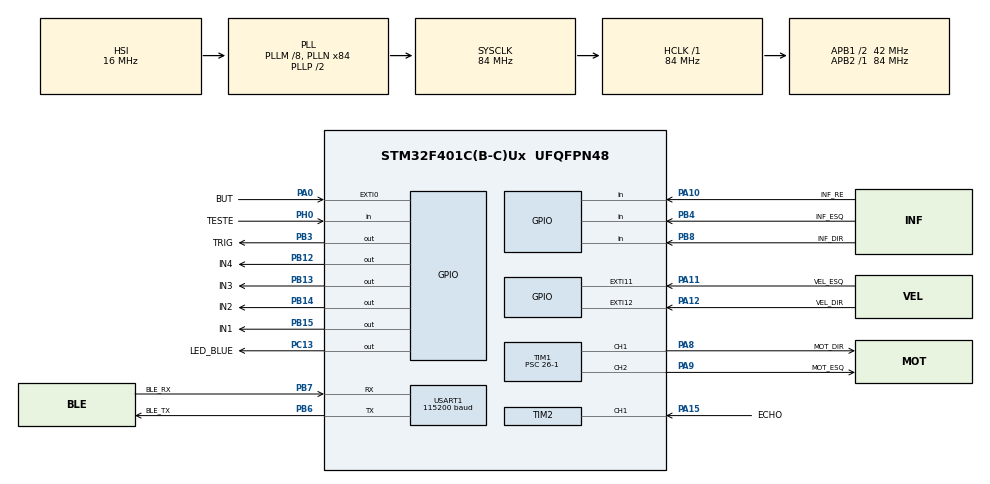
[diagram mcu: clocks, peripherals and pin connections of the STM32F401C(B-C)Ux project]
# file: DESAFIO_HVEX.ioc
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Dma.Request0=USART1_RX
Dma.Request1=USART1_TX
Dma.USART1_RX.0.Direction=DMA_PERIPH_TO_MEMORY
Dma.USART1_RX.0.FIFOMode=DMA_FIFOMODE_DISABLE
Dma.USART1_RX.0.Instance=DMA2_Stream2
Dma.USART1_RX.0.MemDataAlignment=DMA_MDATAALIGN_BYTE
Dma.USART1_RX.0.MemInc=DMA_MINC_ENABLE
Dma.USART1_RX.0.Mode=DMA_NORMAL
Dma.USART1_RX.0.PeriphDataAlignment=DMA_PDATAALIGN_BYTE
Dma.USART1_RX.0.PeriphInc=DMA_PINC_DISABLE
Dma.USART1_RX.0.Priority=DMA_PRIORITY_MEDIUM
Dma.USART1_TX.1.Direction=DMA_MEMORY_TO_PERIPH
Dma.USART1_TX.1.FIFOMode=DMA_FIFOMODE_DISABLE
Dma.USART1_TX.1.Instance=DMA2_Stream7
Dma.USART1_TX.1.MemDataAlignment=DMA_MDATAALIGN_BYTE
Dma.USART1_TX.1.MemInc=DMA_MINC_ENABLE
Dma.USART1_TX.1.Mode=DMA_NORMAL
Dma.USART1_TX.1.PeriphDataAlignment=DMA_PDATAALIGN_BYTE
Dma.USART1_TX.1.PeriphInc=DMA_PINC_DISABLE
Dma.USART1_TX.1.Priority=DMA_PRIORITY_MEDIUM
FREERTOS.Events01=Operation_Modes,Dynamic,NULL
FREERTOS.Queues01=Sensors_State,3,uint8_t,0,Dynamic,NULL,NULL;Bluetooth_comands,8,uint8_t,0,Dynamic,NULL,NULL
FREERTOS.Tasks01=Autonomus_Mode,24,128,Autonomus,Default,NULL,Dynamic,NULL,NULL;Manual_Mode,40,128,Manual,Default,NULL,Dynamic,NULL,NULL;SensorsReading,24,64,Sensors,Default,NULL,Dynamic,NULL,NULL;Ultrasonic_Read,24,64,Ultrasonic,Default,NULL,Dynamic,NULL,NULL;IDLE_Task,32,64,IDLE,Default,NULL,Dynamic,NULL,NULL;PID_DIR_Task,48,128,PID_M_DIR,Default,NULL,Dynamic,NULL,NULL;PID_ESQ_Task,48,128,PID_M_ESQ,Default,NULL,Dynamic,NULL,NULL
FREERTOS.configMINIMAL_STACK_SIZE=64
Mcu.Family=STM32F4
Mcu.Name=STM32F401C(B-C)Ux
Mcu.Package=UFQFPN48
NVIC.DMA2_Stream2_IRQn=true\:5\:0\:false\:false\:true\:true\:false\:true
NVIC.DMA2_Stream7_IRQn=true\:5\:0\:false\:false\:true\:true\:false\:true
NVIC.EXTI0_IRQn=true\:10\:0\:true\:false\:true\:true\:true\:true
NVIC.EXTI15_10_IRQn=true\:5\:0\:false\:false\:true\:true\:true\:true
NVIC.PriorityGroup=NVIC_PRIORITYGROUP_4
NVIC.TIM1_TRG_COM_TIM11_IRQn=true\:15\:0\:false\:false\:true\:false\:false\:true
NVIC.TIM2_IRQn=true\:5\:0\:false\:false\:true\:true\:true\:true
NVIC.TimeBase=TIM1_TRG_COM_TIM11_IRQn
NVIC.TimeBaseIP=TIM11
NVIC.USART1_IRQn=true\:5\:0\:false\:false\:true\:true\:true\:true
PA0-WKUP.GPIO_Label=BUT
PA0-WKUP.GPIO_ModeDefaultEXTI=GPIO_MODE_IT_FALLING
PA0-WKUP.GPIO_PuPd=GPIO_PULLUP
PA0-WKUP.Signal=GPXTI0
PA10.GPIO_Label=INF_RE
PA10.Signal=GPIO_Input
PA11.GPIO_Label=VEL_ESQ
PA11.GPIO_ModeDefaultEXTI=GPIO_MODE_IT_RISING
PA11.Signal=GPXTI11
PA12.GPIO_Label=VEL_DIR
PA12.GPIO_ModeDefaultEXTI=GPIO_MODE_IT_RISING
PA12.Signal=GPXTI12
PA13.Mode=Serial_Wire
PA13.Signal=SYS_JTMS-SWDIO
PA14.Mode=Serial_Wire
PA14.Signal=SYS_JTCK-SWCLK
PA15.GPIO_Label=ECHO
PA15.Signal=S_TIM2_CH1_ETR
PA8.GPIO_Label=MOT_DIR
PA8.Signal=S_TIM1_CH1
PA9.GPIO_Label=MOT_ESQ
PA9.Signal=S_TIM1_CH2
PB12.GPIO_Label=IN4
PB12.Signal=GPIO_Output
PB13.GPIO_Label=IN3
PB13.Signal=GPIO_Output
PB14.GPIO_Label=IN2
PB14.Signal=GPIO_Output
PB15.GPIO_Label=IN1
PB15.Signal=GPIO_Output
PB3.GPIO_Label=TRIG
PB3.Signal=GPIO_Output
PB4.GPIO_Label=INF_ESQ
PB4.GPIO_PuPd=GPIO_PULLUP
PB4.Signal=GPIO_Input
PB6.GPIO_Label=BLE_TX
PB6.Mode=Asynchronous
PB6.Signal=USART1_TX
PB7.GPIO_Label=BLE_RX
PB7.Mode=Asynchronous
PB7.Signal=USART1_RX
PB8.GPIO_Label=INF_DIR
PB8.GPIO_PuPd=GPIO_PULLUP
PB8.Signal=GPIO_Input
PC13-ANTI_TAMP.GPIO_Label=LED_BLUE
PC13-ANTI_TAMP.Signal=GPIO_Output
PH0\ -\ OSC_IN.GPIO_Label=TESTE
PH0\ -\ OSC_IN.Signal=GPIO_Input
ProjectManager.HeapSize=0x200
ProjectManager.StackSize=0x400
ProjectManager.TargetToolchain=STM32CubeIDE
RCC.48MHZClocksFreq_Value=42000000
RCC.AHBFreq_Value=84000000
RCC.APB1CLKDivider=RCC_HCLK_DIV2
RCC.APB1Freq_Value=42000000
RCC.APB1TimFreq_Value=84000000
RCC.APB2Freq_Value=84000000
RCC.APB2TimFreq_Value=84000000
RCC.CortexFreq_Value=84000000
RCC.HCLKFreq_Value=84000000
RCC.HSE_VALUE=25000000
RCC.HSI_VALUE=16000000
RCC.LSE_VALUE=32768
RCC.PLLM=8
RCC.PLLN=84
RCC.SYSCLKFreq_VALUE=84000000
RCC.SYSCLKSource=RCC_SYSCLKSOURCE_PLLCLK
RCC.VCOOutputFreq_Value=168000000
SH.S_TIM1_CH1.0=TIM1_CH1,PWM Generation1 CH1
SH.S_TIM1_CH2.0=TIM1_CH2,PWM Generation2 CH2
SH.S_TIM2_CH1_ETR.0=TIM2_CH1,Input_Capture1_from_TI1
TIM1.AutoReloadPreload=TIM_AUTORELOAD_PRELOAD_ENABLE
TIM1.Channel-PWM\ Generation1\ CH1=TIM_CHANNEL_1
TIM1.Channel-PWM\ Generation2\ CH2=TIM_CHANNEL_2
TIM1.OCFastMode_PWM-PWM\ Generation1\ CH1=TIM_OCFAST_ENABLE
TIM1.OCFastMode_PWM-PWM\ Generation2\ CH2=TIM_OCFAST_ENABLE
TIM1.Period=65536-1
TIM1.Prescaler=26-1
TIM1.Pulse-PWM\ Generation1\ CH1=6554
TIM1.Pulse-PWM\ Generation2\ CH2=6554
TIM2.Channel-Input_Capture1_from_TI1=TIM_CHANNEL_1
TIM2.Period=0xffff-1
TIM2.Prescaler=84-1
USART1.BaudRate=115200
USART1.VirtualMode=VM_ASYNC
VP_FREERTOS_VS_CMSIS_V2.Mode=CMSIS_V2
VP_SYS_VS_tim11.Mode=TIM11
VP_TIM1_VS_ClockSourceINT.Mode=Internal
VP_TIM2_VS_ClockSourceINT.Mode=Internal
board=custom

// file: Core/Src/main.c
/* USER CODE BEGIN Header */
/**
 ******************************************************************************
 * @file           : main.c
 * @brief          : Main program body
 ******************************************************************************
 * @attention
 *
 * <h2><center>&copy; Copyright (c) 2021 STMicroelectronics.
 * All rights reserved.</center></h2>
 *
 * This software component is licensed by ST under BSD 3-Clause license,
 * the "License"; You may not use this file except in compliance with the
 * License. You may obtain a copy of the License at:
 *                        opensource.org/licenses/BSD-3-Clause
 *
 ******************************************************************************
 */
/* USER CODE END Header */
#include "main.h"
#include "cmsis_os.h"
#include "dma.h"
#include "tim.h"
#include "usart.h"
#include "gpio.h"

/* USER CODE BEGIN Includes */
#include "arm_math.h"
#include "dma.h"
#include "tim.h"
#include "usart.h"
#include "gpio.h"
/* USER CODE END Includes */

void SystemClock_Config(void);
void MX_FREERTOS_Init(void);

int main(void)
{

  /* MCU Configuration--------------------------------------------------------*/

  /* Reset of all peripherals, Initializes the Flash interface and the Systick. */
  HAL_Init();

  /* Configure the system clock */
  SystemClock_Config();

  /* Initialize all configured peripherals */
  MX_GPIO_Init();
  MX_TIM1_Init();
  MX_USART1_UART_Init();
  MX_DMA_Init();
  MX_TIM2_Init();

  /* Init scheduler */
  osKernelInitialize();  /* Call init function for freertos objects (in freertos.c) */
  MX_FREERTOS_Init();
  /* Start scheduler */
  osKernelStart();

  /* We should never get here as control is now taken by the scheduler */
  /* Infinite loop */
	while (1) {

	}
}

void SystemClock_Config(void)
{
  RCC_OscInitTypeDef RCC_OscInitStruct = {0};
  RCC_ClkInitTypeDef RCC_ClkInitStruct = {0};

  /** Configure the main internal regulator output voltage
  */
  __HAL_RCC_PWR_CLK_ENABLE();
  __HAL_PWR_VOLTAGESCALING_CONFIG(PWR_REGULATOR_VOLTAGE_SCALE2);
  /** Initializes the RCC Oscillators according to the specified parameters
  * in the RCC_OscInitTypeDef structure.
  */
  RCC_OscInitStruct.OscillatorType = RCC_OSCILLATORTYPE_HSI;
  RCC_OscInitStruct.HSIState = RCC_HSI_ON;
  RCC_OscInitStruct.HSICalibrationValue = RCC_HSICALIBRATION_DEFAULT;
  RCC_OscInitStruct.PLL.PLLState = RCC_PLL_ON;
  RCC_OscInitStruct.PLL.PLLSource = RCC_PLLSOURCE_HSI;
  RCC_OscInitStruct.PLL.PLLM = 8;
  RCC_OscInitStruct.PLL.PLLN = 84;
  RCC_OscInitStruct.PLL.PLLP = RCC_PLLP_DIV2;
  RCC_OscInitStruct.PLL.PLLQ = 4;
  if (HAL_RCC_OscConfig(&RCC_OscInitStruct) != HAL_OK)
  {
    Error_Handler();
  }
  /** Initializes the CPU, AHB and APB buses clocks
  */
  RCC_ClkInitStruct.ClockType = RCC_CLOCKTYPE_HCLK|RCC_CLOCKTYPE_SYSCLK
                              |RCC_CLOCKTYPE_PCLK1|RCC_CLOCKTYPE_PCLK2;
  RCC_ClkInitStruct.SYSCLKSource = RCC_SYSCLKSOURCE_PLLCLK;
  RCC_ClkInitStruct.AHBCLKDivider = RCC_SYSCLK_DIV1;
  RCC_ClkInitStruct.APB1CLKDivider = RCC_HCLK_DIV2;
  RCC_ClkInitStruct.APB2CLKDivider = RCC_HCLK_DIV1;

  if (HAL_RCC_ClockConfig(&RCC_ClkInitStruct, FLASH_LATENCY_2) != HAL_OK)
  {
    Error_Handler();
  }
}

void HAL_TIM_PeriodElapsedCallback(TIM_HandleTypeDef *htim)
{
  if (htim->Instance == TIM11) {
    HAL_IncTick();
  }
}

void Error_Handler(void)
{
	__disable_irq();
	while (1) {
	}
}

/************************ (C) COPYRIGHT STMicroelectronics *****END OF FILE****/

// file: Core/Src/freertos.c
/* USER CODE BEGIN Header */
/**
 ******************************************************************************
 * File Name          : freertos.c
 * Description        : Code for freertos applications
 ******************************************************************************
 * @attention
 *
 * <h2><center>&copy; Copyright (c) 2021 STMicroelectronics.
 * All rights reserved.</center></h2>
 *
 * This software component is licensed by ST under Ultimate Liberty license
 * SLA0044, the "License"; You may not use this file except in compliance with
 * the License. You may obtain a copy of the License at:
 *                             www.st.com/SLA0044
 *
 ******************************************************************************
 */
/* USER CODE END Header */

#include "FreeRTOS.h"
#include "task.h"
#include "main.h"
#include "cmsis_os.h"

/* USER CODE BEGIN Includes */
#include "stm32f4xx_hal.h"
#include "gpio.h"
#include "usart.h"
#include "stm32f401xc.h"
#include "dma.h"
#include "stdio.h"
#include "string.h"
#include "RPM_sensor.h"
#include "arm_math.h"
#include "Control_Motors.h"
/* USER CODE END Includes */

/* USER CODE BEGIN PTD */
typedef struct {
	double dir;
	double esq;
} RPM_mensures_t;

typedef struct{
	double duty;
	double SETPOINT;
	uint32_t old_time;
	double vet_mov_avr[4];
	uint8_t len_mov_avr;
	double pid_error;
	double pid_out;
	uint8_t saturation;
	int8_t sign;
	double RPM;
	uint8_t MOT;
	uint8_t reload;
	arm_pid_instance_f32 PID;
	float32_t Ki_old;
	float32_t Kd_old;
	float32_t Kp_old;
}params_PID;

/* USER CODE END PTD */

/* USER CODE BEGIN PD */
#define TURN_ON_AUTONOMUS 	(1<<0)	// 0b00000000000000000000000000000001	#01
#define TURN_OFF_AUTONOMUS	(1<<1)	// 0b00000000000000000000000000000010	#02
#define TURN_ON_MANUAL 		(1<<2)	// 0b00000000000000000000000000000100	#04
#define TURN_OFF_MANUAL		(1<<3)	// 0b00000000000000000000000000001000	#08

/* Choose of PID parameters for DIR motor */
#define PID_DIR_KP	2.01			/* Proporcional */
#define PID_DIR_KI	0.006			/* Integral */
#define PID_DIR_KD	0.008			/* Derivative */
/* Choose of PID parameters for ESQ motor */
#define PID_ESQ_KP	2.01				/* Proporcional */
#define PID_ESQ_KI	0.005			/* Integral */
#define PID_ESQ_KD	0.008			/* Derivative */
/*#define PID_ESQ_KP	2.1				 Proporcional
#define PID_ESQ_KI	0.004			 Integral
#define PID_ESQ_KD	0.009			 Derivative */
#define FS				2			/*Sampling Frequency*/
#define TIMEHOLD		500		/*Sampling Period in ms*/
#define true			1
#define false			0

/* USER CODE END PD */

/* USER CODE BEGIN PM */
#define LED_ON				HAL_GPIO_WritePin(LED_BLUE_GPIO_Port, LED_BLUE_Pin, GPIO_PIN_RESET);
#define LED_OFF				HAL_GPIO_WritePin(LED_BLUE_GPIO_Port, LED_BLUE_Pin, GPIO_PIN_SET);
#define LED_TOGGLE			HAL_GPIO_TogglePin(LED_BLUE_GPIO_Port, LED_BLUE_Pin);
/* USER CODE END PM */

/* USER CODE BEGIN Variables */
extern TIM_HandleTypeDef htim1;
extern TIM_HandleTypeDef htim2;
extern UART_HandleTypeDef huart1;
extern DMA_HandleTypeDef hdma_usart1_rx;
extern DMA_HandleTypeDef hdma_usart1_tx;

/*Ultrassonic Sensor Variables*/
uint32_t IC_Val1 = 0;
uint32_t IC_Val2 = 0;
uint32_t Difference = 0;
uint8_t Is_First_Captured = 0;  // is the first value captured ?

/*Button Variables*/
uint32_t BUT_COUNT = 0;
uint32_t ERROR_COUNT = 0;

/*Motor Velocity Variables*/
pulsos count_pulsos;
static double veloc = 70; /*[RPM]*/
RPM_mensures_t RPM;

/*Infrared Sensor Variables*/
static uint32_t count_re = 0;
static uint32_t count_dir = 0;
static uint32_t count_esq = 0;
static uint32_t Distancia = 0xff;
static GPIO_PinState pin_dir = GPIO_PIN_SET;
static GPIO_PinState pin_esq = GPIO_PIN_SET;
static GPIO_PinState pin_re = GPIO_PIN_SET;

/*PID instancies*/
params_PID DIR = {
		/*Velocity Setpoint*/
		.SETPOINT = 80,
};

params_PID ESQ = {
		.SETPOINT = 80,
};

uint8_t velocidade=15;
uint8_t comando[5];
uint8_t UART1_rxBuffer[5];
uint8_t to_send[5];

HAL_StatusTypeDef feedback_uart;
uint8_t count_ble=0;

/* USER CODE END Variables */
/* Definitions for Autonomus_Mode */
osThreadId_t Autonomus_ModeHandle;
const osThreadAttr_t Autonomus_Mode_attributes = {
  .name = "Autonomus_Mode",
  .stack_size = 128 * 4,
  .priority = (osPriority_t) osPriorityNormal,
};
/* Definitions for Manual_Mode */
osThreadId_t Manual_ModeHandle;
const osThreadAttr_t Manual_Mode_attributes = {
  .name = "Manual_Mode",
  .stack_size = 128 * 4,
  .priority = (osPriority_t) osPriorityHigh,
};
/* Definitions for SensorsReading */
osThreadId_t SensorsReadingHandle;
const osThreadAttr_t SensorsReading_attributes = {
  .name = "SensorsReading",
  .stack_size = 64 * 4,
  .priority = (osPriority_t) osPriorityNormal,
};
/* Definitions for Ultrasonic_Read */
osThreadId_t Ultrasonic_ReadHandle;
const osThreadAttr_t Ultrasonic_Read_attributes = {
  .name = "Ultrasonic_Read",
  .stack_size = 64 * 4,
  .priority = (osPriority_t) osPriorityNormal,
};
/* Definitions for IDLE_Task */
osThreadId_t IDLE_TaskHandle;
const osThreadAttr_t IDLE_Task_attributes = {
  .name = "IDLE_Task",
  .stack_size = 64 * 4,
  .priority = (osPriority_t) osPriorityAboveNormal,
};
/* Definitions for PID_DIR_Task */
osThreadId_t PID_DIR_TaskHandle;
const osThreadAttr_t PID_DIR_Task_attributes = {
  .name = "PID_DIR_Task",
  .stack_size = 128 * 4,
  .priority = (osPriority_t) osPriorityRealtime,
};
/* Definitions for PID_ESQ_Task */
osThreadId_t PID_ESQ_TaskHandle;
const osThreadAttr_t PID_ESQ_Task_attributes = {
  .name = "PID_ESQ_Task",
  .stack_size = 128 * 4,
  .priority = (osPriority_t) osPriorityRealtime,
};
/* Definitions for Sensors_State */
osMessageQueueId_t Sensors_StateHandle;
const osMessageQueueAttr_t Sensors_State_attributes = {
  .name = "Sensors_State"
};
/* Definitions for Bluetooth_comands */
osMessageQueueId_t Bluetooth_comandsHandle;
const osMessageQueueAttr_t Bluetooth_comands_attributes = {
  .name = "Bluetooth_comands"
};
/* Definitions for Operation_Modes */
osEventFlagsId_t Operation_ModesHandle;
const osEventFlagsAttr_t Operation_Modes_attributes = {
  .name = "Operation_Modes"
};

/* USER CODE BEGIN FunctionPrototypes */
void HCSR04_Read(void);
/* USER CODE END FunctionPrototypes */

void Autonomus(void *argument);
void Manual(void *argument);
void Sensors(void *argument);
void Ultrasonic(void *argument);
void IDLE(void *argument);
void PID_M_DIR(void *argument);
void PID_M_ESQ(void *argument);

void MX_FREERTOS_Init(void); /* (MISRA C 2004 rule 8.1) */

void MX_FREERTOS_Init(void) {

  /* Create the queue(s) */
  /* creation of Sensors_State */
  Sensors_StateHandle = osMessageQueueNew (3, sizeof(uint8_t), &Sensors_State_attributes);

  /* creation of Bluetooth_comands */
  Bluetooth_comandsHandle = osMessageQueueNew (8, sizeof(uint8_t), &Bluetooth_comands_attributes);

  /* USER CODE BEGIN RTOS_QUEUES */
	/* add queues, ... */
	if (Sensors_StateHandle == NULL) {
		Error_Handler();
	}

  /* USER CODE END RTOS_QUEUES */

  /* Create the thread(s) */
  /* creation of Autonomus_Mode */
  Autonomus_ModeHandle = osThreadNew(Autonomus, NULL, &Autonomus_Mode_attributes);

  /* creation of Manual_Mode */
  Manual_ModeHandle = osThreadNew(Manual, NULL, &Manual_Mode_attributes);

  /* creation of SensorsReading */
  SensorsReadingHandle = osThreadNew(Sensors, NULL, &SensorsReading_attributes);

  /* creation of Ultrasonic_Read */
  Ultrasonic_ReadHandle = osThreadNew(Ultrasonic, NULL, &Ultrasonic_Read_attributes);

  /* creation of IDLE_Task */
  IDLE_TaskHandle = osThreadNew(IDLE, NULL, &IDLE_Task_attributes);

  /* creation of PID_DIR_Task */
  PID_DIR_TaskHandle = osThreadNew(PID_M_DIR, NULL, &PID_DIR_Task_attributes);

  /* creation of PID_ESQ_Task */
  PID_ESQ_TaskHandle = osThreadNew(PID_M_ESQ, NULL, &PID_ESQ_Task_attributes);

  /* USER CODE BEGIN RTOS_THREADS */
	/* add threads, ... */

	osThreadSuspend(Autonomus_ModeHandle);
	osThreadSuspend(Manual_ModeHandle);
	osThreadSuspend(SensorsReadingHandle);
	osThreadSuspend(Ultrasonic_ReadHandle);
	osThreadSuspend(PID_DIR_TaskHandle);
	osThreadSuspend(PID_ESQ_TaskHandle);
  /* USER CODE END RTOS_THREADS */

  /* Create the event(s) */
  /* creation of Operation_Modes */
  Operation_ModesHandle = osEventFlagsNew(&Operation_Modes_attributes);

}

void Autonomus(void *argument)
{
  /* USER CODE BEGIN Autonomus */
	static uint32_t decisao;
	const uint8_t REFdebounce = 5;
	static uint8_t in1_0_dir = 0;
	static uint8_t in1_1_dir = 0;
	static uint8_t in1_0_esq = 0;
	static uint8_t in1_1_esq = 0;
	static uint8_t in1_0_re = 0;
	static uint8_t in1_1_re = 0;
	static const uint8_t distancia = 10;
	static const uint8_t angulo_90 = 45;
	static const uint8_t angulo_60 = 30;
	HAL_TIM_PWM_Start(&htim1, MOTOR_ESQ);
	osDelay(10);
	HAL_TIM_PWM_Start(&htim1, MOTOR_DIR);
	osDelay(10);
	init_motors(veloc);
	frente(veloc);

	/* Infinite loop */
	for (;;) {
		osMessageQueueGet(Sensors_StateHandle, &Distancia, osPriorityNormal,
				(uint32_t)0U);
		if (Distancia <= min_dist) {
			stop();
			decisao = HAL_GetTick(); /*Consulta o tick atual: "Olha a hora"*/
			if ((decisao % 2) == 0) {
				re_dist(veloc,distancia);
				rot_esq(veloc,angulo_90);
				frente(veloc);
			} else {
				re_dist(veloc,distancia);
				rot_dir(veloc,angulo_90);
				frente(veloc);
			}
		}
		if (pin_re == GPIO_PIN_RESET) {

			in1_0_re++;
			in1_1_re = 0;
			if (in1_0_re >= REFdebounce) {
				in1_1_re = REFdebounce + 1;
				stop();
				frente(veloc);
				osDelay(time_wait_ms(distancia, veloc));
				count_re++;
			}
		} else {
			in1_0_re = 0;
			in1_1_re++;
			if (in1_1_re >= REFdebounce) {
				in1_1_re = REFdebounce + 1;
				frente(veloc);
			}
		}

		if (pin_dir == GPIO_PIN_RESET) {
			in1_0_dir++;
			in1_1_dir = 0;
			if (in1_0_dir >= REFdebounce) {
				in1_1_dir = REFdebounce + 1;
				/*Confirmado acionamento*/
				stop();
				re_dist(veloc, distancia);
				rot_esq(veloc,angulo_60);
				frente(veloc);
				count_dir++;
			}
		} else {
			in1_0_dir = 0;
			in1_1_dir++;
			if (in1_1_dir >= REFdebounce) {
				in1_1_dir = REFdebounce + 1;
			}
		}

		if (pin_esq == GPIO_PIN_RESET) {
			in1_0_esq++;
			in1_1_esq = 0;
			if (in1_0_esq >= REFdebounce) {
				in1_1_esq = REFdebounce + 1;
				stop();
				re_dist(veloc, distancia);
				rot_dir(veloc,angulo_60);
				frente(veloc);
				count_esq++;
			}
		} else {
			in1_0_esq = 0;
			in1_1_esq++;
			if (in1_1_esq >= REFdebounce) {
				in1_1_esq = REFdebounce + 1;
			}
		}

		if ((pin_dir && pin_esq) == GPIO_PIN_SET) {
			frente(veloc);
		}
		osDelay(10);
	}
  /* USER CODE END Autonomus */
}

void Manual(void *argument)
{
  /* USER CODE BEGIN Manual */
	/* Infinite loop */
	uint8_t i=0;
	uint8_t buff[5];
	HAL_StatusTypeDef feedback;
	/*uint8_t velocidade=15;*/
	for (;;) {
		osMessageQueueGet(Bluetooth_comandsHandle, &buff, osPriorityRealtime,
				10U);
		/*		__disable_irq();
		 memcpy(buff, to_send, sizeof(buff));
		 memset(to_send, 0x0, sizeof(buff));
		 __enable_irq();*/

		i = 0;
		while ((i < 5) && (buff[i] != 0x0)) {
			if (buff[i] != 10) {
				switch (buff[i]) {
				case 'S':
					stop();
					break;
				case 'F':
					frente(veloc);
					break;
				case 'L':
					rotacao_E();
					break;
				case 'R':
					rotacao_D();
					break;
				case 'G':
					re(veloc);
					break;
				case 'E':
					direita(veloc);
					break;
				case 'Q':
					esquerda(veloc);
					break;
				default:
					stop();
					break;
				}
			}
			i++;
			buff[i] = 0x0;
		}
		osMessageQueueReset(Bluetooth_comandsHandle);
		osDelay(1);
	}
  /* USER CODE END Manual */
}

void Sensors(void *argument)
{
  /* USER CODE BEGIN Sensors */
	/* Infinite loop */
	for (;;) {
		/*Lendo o Estado de sensores infravermelho*/
		pin_re = HAL_GPIO_ReadPin(INF_RE_GPIO_Port, INF_RE_Pin);
		pin_esq = HAL_GPIO_ReadPin(INF_ESQ_GPIO_Port, INF_ESQ_Pin);
		pin_dir = HAL_GPIO_ReadPin(INF_DIR_GPIO_Port, INF_DIR_Pin);
		osDelay(2);
	}
  /* USER CODE END Sensors */
}

void Ultrasonic(void *argument)
{
  /* USER CODE BEGIN Ultrasonic */
	/* Infinite loop */
	HAL_TIM_IC_Start_IT(&htim2, TIM_CHANNEL_1);
	for (;;) {
		HCSR04_Read();
		osDelay(100);
	}
  /* USER CODE END Ultrasonic */
}

void IDLE(void *argument)
{
  /* USER CODE BEGIN IDLE */
	HAL_UART_Receive_IT(&huart1, UART1_rxBuffer, 10);
	uint32_t flagsX;
	/* Infinite loop */
	for (;;) {
		flagsX =  osEventFlagsWait(Operation_ModesHandle,TURN_ON_AUTONOMUS|
				TURN_ON_MANUAL|TURN_OFF_AUTONOMUS|TURN_OFF_MANUAL, osFlagsWaitAny, osWaitForever);
		if(flagsX&TURN_ON_AUTONOMUS){
			osDelay(2000); /*Aguarda 2seg*/
			osThreadSuspend(Manual_ModeHandle);
			osThreadResume(Autonomus_ModeHandle);
			osThreadResume(SensorsReadingHandle);
			osThreadResume(Ultrasonic_ReadHandle);
			osThreadResume(PID_DIR_TaskHandle);
			osThreadResume(PID_ESQ_TaskHandle);
		}else if(flagsX &TURN_ON_MANUAL){
			stop();
			osThreadSuspend(Autonomus_ModeHandle);
			osThreadSuspend(SensorsReadingHandle);
			osThreadSuspend(Ultrasonic_ReadHandle);
			osThreadResume(Manual_ModeHandle);
		}else if(flagsX &TURN_OFF_MANUAL){
			osThreadSuspend(Autonomus_ModeHandle);
			osThreadSuspend(SensorsReadingHandle);
			osThreadSuspend(Ultrasonic_ReadHandle);
		}else if(flagsX &TURN_OFF_MANUAL){
			osThreadSuspend(Manual_ModeHandle);
		}
		osDelay(1);
	}
  /* USER CODE END IDLE */
}

void PID_M_DIR(void *argument) {
	/* USER CODE BEGIN PID_M_DIR */
	/* Infinite loop */
	init_pulso();
	/*PID instances*/
	/*Motor Dir*/
	DIR.PID.Kp = PID_DIR_KP; /* Proporcional */
	DIR.PID.Ki = PID_DIR_KI; /* Integral */
	DIR.PID.Kd = PID_DIR_KD; /* Derivative */
	DIR.Kp_old = DIR.PID.Kp;
	DIR.Ki_old = DIR.PID.Ki;
	DIR.Kd_old = DIR.PID.Kd;
	/* PID error */
	DIR.pid_error = 0;
	/*BUffer Len to mov. avrg*/
	DIR.len_mov_avr = (uint8_t) sizeof(DIR.vet_mov_avr) / sizeof(double);
	/*Velocity Setpoint
	DIR.SETPOINT = 100;*/
	DIR.MOT = M_DIR;
	/*System Params*/
	uint32_t iteration_time;
	/* Initialize PID system, float32_t format */
	arm_pid_init_f32(&DIR.PID, 1);
	for (;;) {
		DIR.SETPOINT = get_speed(DIR.MOT);
		if (DIR.reload == true) {
			arm_pid_init_f32(&DIR.PID, 0);
			DIR.Kp_old = DIR.PID.Kp;
			DIR.Ki_old = DIR.PID.Ki;
			DIR.Kd_old = DIR.PID.Kd;
			DIR.reload = false;
		}
		iteration_time = HAL_GetTick() - DIR.old_time;
		if (iteration_time >= TIMEHOLD) {
			/*getting setpoint value for motor dir*/
			__disable_irq();
			/*RPM calculus*/
			DIR.RPM = get_pulso_vel(DIR.MOT) * 3000
					/ (HAL_GetTick() - DIR.old_time);
			DIR.old_time = HAL_GetTick();
			reset_pulso_vel(DIR.MOT);
			__enable_irq();
		}
		/*PID error calculus*/
		DIR.pid_error = DIR.SETPOINT - DIR.RPM;/* movingAvg_Dir(array_dir, len, RPM.dir, 0);*/
		DIR.pid_out = arm_pid_f32(&DIR.PID, DIR.pid_error);
		if (((DIR.pid_out > 0) && (DIR.pid_error>0))
				|| ((DIR.pid_out<0) && (DIR.pid_error <0 ))) {
			DIR.sign = 1;
		} else {
			DIR.sign = 0;
		}
		DIR.duty = rpm_2_duty(DIR.pid_out);

		/*Anti Wind-up implementation for motor dir*/
		if (DIR.duty > 100.0) {
			DIR.duty = 99.7;
			DIR.saturation = 1;
		} else if (DIR.duty < 0) {
			DIR.duty = 0;
			DIR.saturation = 1;
		} else {
			DIR.saturation = 0;
		}
		adjust_PWM(DIR.duty, DIR.MOT);
		if (DIR.saturation && DIR.sign) {
			DIR.PID.Ki = 0;
			DIR.reload = true;
		} else {
			DIR.PID.Ki = DIR.Ki_old;
		}
		osDelay(1);
	}
	/* USER CODE END PID_M_DIR */
}

void PID_M_ESQ(void *argument) {
	/* USER CODE BEGIN PID_M_ESQ */
	/* Infinite loop */
	init_pulso();
	/*PID instances*/
	/*Motor Esq*/
	ESQ.PID.Kp = PID_ESQ_KP;		/* Proporcional */
	ESQ.PID.Ki = PID_ESQ_KI;		/* Integral */
	ESQ.PID.Kd = PID_ESQ_KD;		/* Derivative */
	ESQ.Kp_old = ESQ.PID.Kp;
	ESQ.Ki_old = ESQ.PID.Ki;
	ESQ.Kd_old = ESQ.PID.Kd;
	/* PID error */
	ESQ.pid_error = 0;

	/*BUffer Len to mov. avrg*/
	ESQ.len_mov_avr = (uint8_t) sizeof(ESQ.vet_mov_avr) / sizeof(double);

	ESQ.MOT = M_ESQ;
	/*System Params*/
	uint32_t iteration_time;

	/* Initialize PID system, float32_t format */
	arm_pid_init_f32(&ESQ.PID, 1);

	for (;;) {
		ESQ.SETPOINT = get_speed(ESQ.MOT);
		if (ESQ.reload == true) {
			arm_pid_init_f32(&ESQ.PID, 0);
			ESQ.Kp_old = ESQ.PID.Kp;
			ESQ.Ki_old = ESQ.PID.Ki;
			ESQ.Kd_old = ESQ.PID.Kd;
			ESQ.reload = false;
		}
		iteration_time = HAL_GetTick() - ESQ.old_time;
		if (iteration_time >= TIMEHOLD) {
			/*getting setpoint value for motor esq*/
			__disable_irq();
			/*RPM calculus*/
			ESQ.RPM = get_pulso_vel(ESQ.MOT) * 3000
					/ (HAL_GetTick() - ESQ.old_time);
			ESQ.old_time = HAL_GetTick();
			reset_pulso_vel(ESQ.MOT);
			__enable_irq();
		}
		/*PID error calculus*/
		ESQ.pid_error = ESQ.SETPOINT - ESQ.RPM;/* movingAvg_Dir(array_dir, len, RPM.dir, 0);*/
		ESQ.pid_out = arm_pid_f32(&ESQ.PID, ESQ.pid_error);
		if (((ESQ.pid_out > 0) && (ESQ.pid_error>0))
				|| ((ESQ.pid_out<0) && (ESQ.pid_error <0 ))) {
			ESQ.sign = 1;
		} else {
			ESQ.sign = 0;
		}
		ESQ.duty = rpm_2_duty(ESQ.pid_out);

		/*Anti Wind-up implementation for motor dir*/
		if (ESQ.duty > 100.0) {
			ESQ.duty = 99.7;
			ESQ.saturation = 1;
		} else if (ESQ.duty < 0) {
			ESQ.duty = 0;
			ESQ.saturation = 1;
		} else {
			ESQ.saturation = 0;
		}
		adjust_PWM(ESQ.duty, ESQ.MOT);
		if (ESQ.saturation && ESQ.sign) {
			ESQ.PID.Ki = 0;
			ESQ.reload = true;
		} else {
			ESQ.PID.Ki = ESQ.Ki_old;
		}
		osDelay(1);
	}
	/* USER CODE END PID_M_ESQ */
}

/* USER CODE BEGIN Application */
void HAL_GPIO_EXTI_Callback(uint16_t GPIO_Pin) {

	switch (GPIO_Pin) {
	case BUT_Pin:
		stop();
		BUT_COUNT++;
		LED_OFF;
		veloc = veloc+5;
		osEventFlagsSet(Operation_ModesHandle, TURN_ON_AUTONOMUS);
		break;

	case VEL_DIR_Pin:
		inc_pulso(M_DIR);
		break;

	case VEL_ESQ_Pin:
		inc_pulso(M_ESQ);
		break;

	default:
		ERROR_COUNT++;
		break;
	}
}

void HAL_UART_RxCpltCallback(UART_HandleTypeDef *huart) {
	static uint8_t i;
	static uint8_t j;
	HAL_UART_Receive_IT(&huart1, UART1_rxBuffer, 5);

	switch(UART1_rxBuffer[0]){
	case 'X':
		osEventFlagsSet(Operation_ModesHandle, TURN_ON_MANUAL);
		break;
	case 'Y':
		osEventFlagsSet(Operation_ModesHandle, TURN_ON_AUTONOMUS);
		break;
	case 'J':
		sscanf(UART1_rxBuffer,"J%d", &veloc);
		break;
/*	case 'P':
		DIR.PID.Kp++; = PID_esq.Kp + 0.1;        Proporcional
		DIR.Kp_old = DIR.PID.Kp;
		DIR.reload = true;
		ESQ.PID.Kp++; = PID_dir.Kp + 0.1;
		ESQ.Kp_old = ESQ.PID.Kp;
		ESQ.reload = true;
		break;
	case 'p':
		DIR.PID.Kp--; = PID_esq.Kp - 0.1;        Proporcional
		DIR.Kp_old = DIR.PID.Kp;
		DIR.reload = true;
		ESQ.PID.Kp--; = PID_dir.Kp - 0.1;
		ESQ.Kp_old = ESQ.PID.Kp;
		ESQ.reload = true;
		break;
	case 'I':
		DIR.PID.Ki++;  = PID_esq.Ki + 0.1;         Integral
		DIR.Ki_old = DIR.PID.Ki;
		DIR.reload = true;
		ESQ.PID.Ki++; = PID_dir.Ki + 0.1;
		ESQ.Ki_old = ESQ.PID.Ki;
		ESQ.reload = true;
		break;
	case 'i':
		DIR.PID.Ki--; = PID_esq.Ki - 0.1;          Integral
		DIR.Ki_old = DIR.PID.Ki;
		DIR.reload = true;
		ESQ.PID.Ki--; = PID_dir.Ki - 0.1;
		ESQ.Ki_old = ESQ.PID.Ki;
		ESQ.reload = true;
		break;
	case 'D':
		DIR.PID.Kd++; = PID_esq.Kd + 0.1;          Derivative
		DIR.Kd_old = DIR.PID.Kd;
		DIR.reload = true;
		ESQ.PID.Kd++; = PID_dir.Kd + 0.1;
		ESQ.Kd_old = ESQ.PID.Kd;
		ESQ.reload = true;
		break;
	case 'd':
		DIR.PID.Kd--;  = PID_esq.Kd - 0.1;         Derivative
		DIR.Kd_old = DIR.PID.Kd;
		DIR.reload = true;
		ESQ.PID.Kd--; = PID_dir.Kd - 0.1;
		ESQ.Kd_old = ESQ.PID.Kd;
		ESQ.reload = true;
		break;*/
	default:
		break;
	}
	osMessageQueuePut(Bluetooth_comandsHandle, &UART1_rxBuffer, osPriorityRealtime, 2U);
}

void HAL_TIM_IC_CaptureCallback(TIM_HandleTypeDef *htim) {
	static uint8_t Distance = 0xff;
	if (htim->Channel == HAL_TIM_ACTIVE_CHANNEL_1) // if the interrupt source is channel1
			{
		if (Is_First_Captured == 0) // if the first value is not captured
				{
			IC_Val1 = HAL_TIM_ReadCapturedValue(htim, TIM_CHANNEL_1); // read the first value
			Is_First_Captured = 1;  // set the first captured as true
			// Now change the polarity to falling edge
			__HAL_TIM_SET_CAPTUREPOLARITY(htim, TIM_CHANNEL_1,
					TIM_INPUTCHANNELPOLARITY_FALLING);
		}

		else if (Is_First_Captured == 1)   // if the first is already captured
				{
			IC_Val2 = HAL_TIM_ReadCapturedValue(htim, TIM_CHANNEL_1); // read second value
			__HAL_TIM_SET_COUNTER(htim, 0);  // reset the counter

			if (IC_Val2 > IC_Val1) {
				Difference = IC_Val2 - IC_Val1;
			}

			else if (IC_Val1 > IC_Val2) {
				Difference = (0xffff - IC_Val1) + IC_Val2;
			}

			Distance = Difference * .034 / 2;
			Is_First_Captured = 0; // set it back to false

			osMessageQueuePut(Sensors_StateHandle, &Distance, osPriorityNormal,
					0U);

			// set polarity to rising edge
			__HAL_TIM_SET_CAPTUREPOLARITY(htim, TIM_CHANNEL_1,
					TIM_INPUTCHANNELPOLARITY_RISING);
			__HAL_TIM_DISABLE_IT(&htim1, TIM_IT_CC1);
		}
	}
}

void HCSR04_Read(void) {
	HAL_GPIO_WritePin(TRIG_GPIO_Port, TRIG_Pin, GPIO_PIN_SET); // pull the TRIG pin HIGH
	osDelay(10);  // wait for 10 us
	HAL_GPIO_WritePin(TRIG_GPIO_Port, TRIG_Pin, GPIO_PIN_RESET); // pull the TRIG pin low

	__HAL_TIM_ENABLE_IT(&htim2, TIM_IT_CC1);
}

/* USER CODE END Application */

/************************ (C) COPYRIGHT STMicroelectronics *****END OF FILE****/
